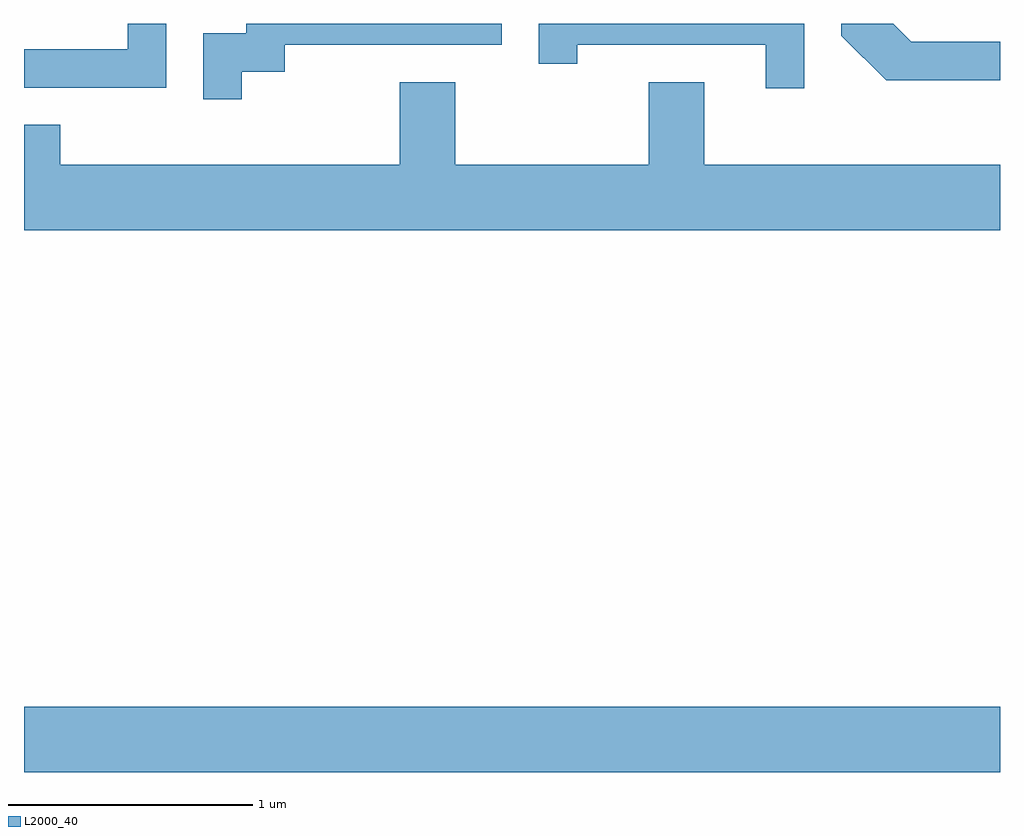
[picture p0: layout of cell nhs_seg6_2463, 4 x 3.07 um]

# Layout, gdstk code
import gdstk
lib = gdstk.Library(unit=1e-6, precision=1e-09)
def R(c, l, rs):  # rectangles x0, y0, x1, y1
    for r in rs: c.add(gdstk.rectangle(r[:2], r[2:], *l))
def P(c, l, *ps):  # polygons
    for p in ps: c.add(gdstk.Polygon(p, *l))
L2000_40 = (2000, 40)

nhs_seg6_2463 = lib.new_cell('nhs_seg6_2463')
R(nhs_seg6_2463, L2000_40, [(259.611,1601.096,263.611,1601.364)])
P(nhs_seg6_2463, L2000_40, [(262.809,1604.162),(261.721,1604.162),(261.721,1603.998),(261.879,1603.998),(261.879,1604.076),(262.651,1604.076),(262.651,1603.898),(262.809,1603.898)],
  [(260.504,1603.966),(260.679,1603.966),(260.679,1604.076),(261.569,1604.076),(261.569,1604.162),(260.521,1604.162),(260.521,1604.124),(260.346,1604.124),(260.346,1603.853),(260.504,1603.853)],
  [(263.611,1604.089),(263.247,1604.089),(263.174,1604.162),(262.961,1604.162),(262.961,1604.114),(263.144,1603.931),(263.611,1603.931)],
  [(260.194,1604.162),(260.036,1604.162),(260.036,1604.059),(259.611,1604.059),(259.611,1603.901),(260.194,1603.901)],
  [(263.611,1603.584),(262.399,1603.584),(262.399,1603.924),(262.171,1603.924),(262.171,1603.584),(261.379,1603.584),(261.379,1603.924),(261.151,1603.924),(261.151,1603.584),(259.759,1603.584),(259.759,1603.749),(259.611,1603.749),(259.611,1603.316),(263.611,1603.316)])

lib.write_gds('nhs_seg6_2463.gds')
